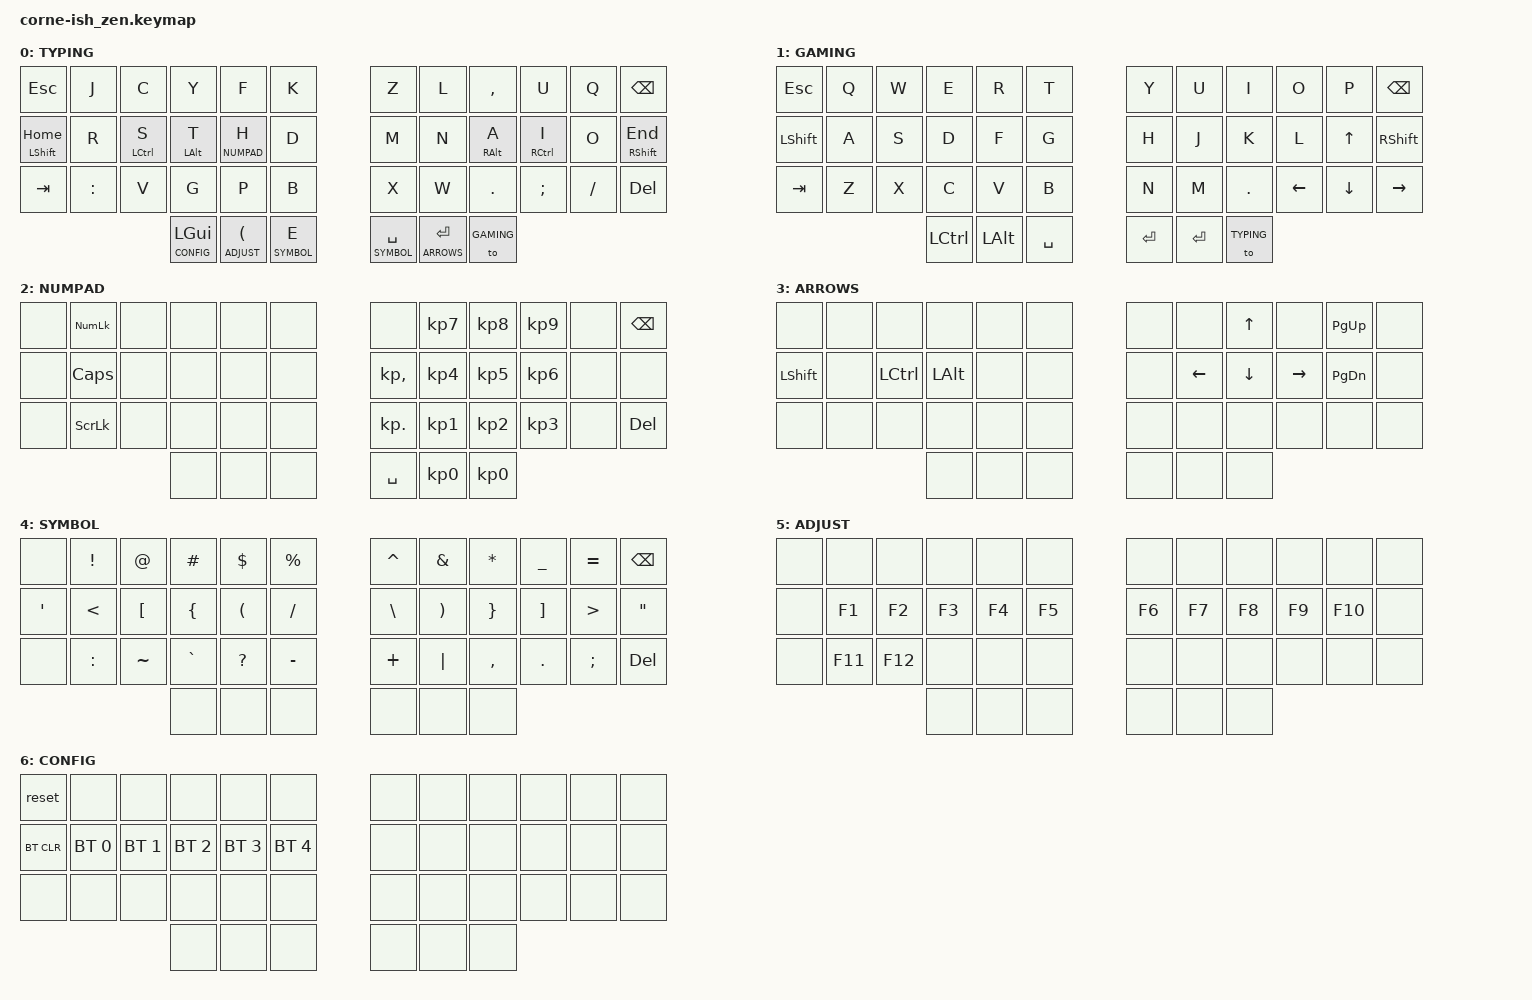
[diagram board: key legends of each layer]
/*
*
* Copyright (c) 2021 lowprokb.ca
* SPDX-License-Identifier: MIT
*
* Modified RSTHD layout by Kenneth Onulak
*/

#include <dt-bindings/zmk/keys.h>
#include <dt-bindings/zmk/bt.h>
#include <behaviors.dtsi>

#define TYPING 0
#define GAMING 1
#define NUMPAD 2
#define ARROWS 3
#define SYMBOL 4
#define ADJUST 5
#define CONFIG 6

/ {
    behaviors {
        pht: positional_hold_tap {
            compatible = "zmk,behavior-hold-tap";
            label = "POSITIONAL_HOLD_TAP";
            #binding-cells = <2>;
            flavor = "hold-preferred";
            tapping-term-ms = <168>;
            quick-tap-ms = <150>;
            bindings = <&kp>, <&kp>;
            // if you press any key NOT listed in hold-trigger-key-positions before tapping-term-ms expires, it will produce a tap.
            hold-trigger-key-positions = <0>;    // <---[[the ESC key]]
        };
    };
        keymap {
                compatible = "zmk,keymap";

                default_layer {
                        label = "TYPING";
                        bindings = <
   &kp ESC        &kp J     &kp C        &kp Y       &kp F        &kp K    &kp Z &kp L &kp COMMA    &kp U        &kp Q    &kp BSPC
   &mt LSHFT HOME &kp R     &pht LCTRL S &pht LALT T &lt NUMPAD H &kp D    &kp M &kp N &pht RALT A  &pht RCTRL I &kp O    &mt RSHFT END
   &kp TAB        &kp COLON &kp V        &kp G       &kp P        &kp B    &kp X &kp W &kp DOT      &kp SEMI     &kp FSLH &kp DEL
                        &lt CONFIG LGUI &lt ADJUST LPAR  &lt SYMBOL E    &lt SYMBOL SPACE &lt ARROWS ENTER &to GAMING
                        >;
                };

                gaming_layer {
                        label = "GAMING";
                        bindings = <
   &kp ESC   &kp Q &kp W &kp E &kp R &kp T    &kp Y &kp U &kp I   &kp O    &kp P    &kp BSPC
   &kp LSHFT &kp A &kp S &kp D &kp F &kp G    &kp H &kp J &kp K   &kp L    &kp UP   &kp RSHFT
   &kp TAB   &kp Z &kp X &kp C &kp V &kp B    &kp N &kp M &kp DOT &kp LEFT &kp DOWN &kp RIGHT
              &kp LCTRL &kp LALT &kp SPACE    &kp ENTER &kp ENTER &to TYPING
                        >;
                };

                numpad_layer {
                        label = "NUMPAD";
                        bindings = <
   &none &kp KP_NLCK &none &none &none &none    &none        &kp KP_N7 &kp KP_N8 &kp KP_N9 &none &kp BSPC
   &none &kp CAPS    &none &none &none &none    &kp KP_COMMA &kp KP_N4 &kp KP_N5 &kp KP_N6 &none &none
   &none &kp SLCK    &none &none &none &none    &kp KP_DOT   &kp KP_N1 &kp KP_N2 &kp KP_N3 &none &kp DEL
                           &none &none &none    &kp SPACE &kp KP_N0 &kp KP_N0
                        >;
                };

                arrows_layer {
                        label = "ARROWS";
                        bindings = <
   &none     &none &none     &none    &none &none    &none &none    &kp UP   &none     &kp PG_UP &none
   &kp LSHFT &none &kp LCTRL &kp LALT &none &none    &none &kp LEFT &kp DOWN &kp RIGHT &kp PG_DN &none
   &none     &none &none     &none    &none &none    &none &none    &none    &none     &none     &none
                                &none &none &none    &none &none &none
                        >;
                };

                symbol_layer {
                        label = "SYMBOL";
                        bindings = <
   &none    &kp EXCL  &kp AT    &kp POUND &kp DLLR  &kp PRCNT    &kp CARET &kp AMPS &kp ASTRK &kp UNDER &kp EQUAL &kp BSPC
   &kp APOS &kp LT    &kp LBKT  &kp LBRC  &kp LPAR  &kp FSLH     &kp BSLH  &kp RPAR &kp RBRC  &kp RBKT  &kp GT    &kp DQT
   &none    &kp COLON &kp TILDE &kp GRAVE &kp QMARK &kp MINUS    &kp PLUS  &kp PIPE &kp COMMA &kp DOT   &kp SEMI  &kp DEL
                                            &none &none &none    &none &none &none
                        >;
                };

                adjust_layer {
                        label = "ADJUST";
                        bindings = <
   &none  &none   &none   &none  &none  &none     &none  &none  &none  &none   &none   &none
   &none  &kp F1  &kp F2  &kp F3 &kp F4 &kp F5    &kp F6 &kp F7 &kp F8 &kp F9  &kp F10 &none
   &none  &kp F11 &kp F12 &none  &none  &none     &none  &none  &none  &none   &none   &none
                          &none  &none  &none     &none  &none  &none
                        >;
                };

                config_layer {
                        label = "CONFIG";
                        bindings = <
   &reset     &none        &none        &none        &none        &none           &none &none &none &none &none &none
   &bt BT_CLR &bt BT_SEL 0 &bt BT_SEL 1 &bt BT_SEL 2 &bt BT_SEL 3 &bt BT_SEL 4    &none &none &none &none &none &none
   &none      &none        &none        &none        &none        &none           &none &none &none &none &none &none
                                        &none        &none        &none           &none &none &none
                        >;
                };
        };
};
